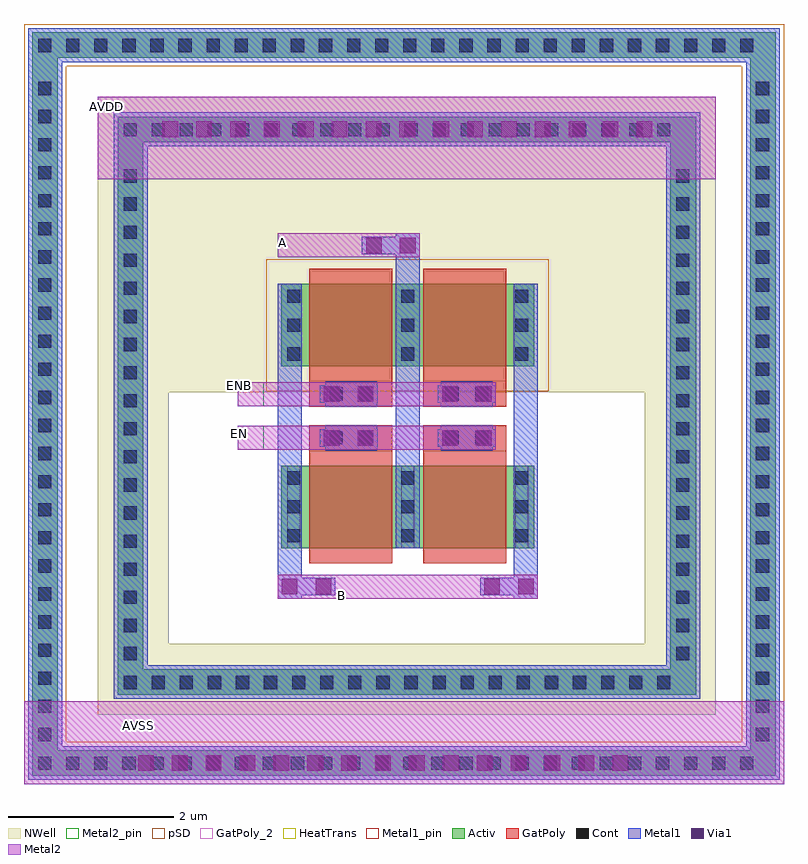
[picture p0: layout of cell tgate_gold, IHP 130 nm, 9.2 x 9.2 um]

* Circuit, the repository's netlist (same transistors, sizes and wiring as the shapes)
** sch_path: /home/designer/shared/BASIC/current_generator/analog/DAC/schematics/tgate_gold.sch
.subckt tgate_gold AVDD AVSS EN ENB A B
*.PININFO AVDD:B AVSS:B EN:B ENB:B A:B B:B
MM1 A EN B AVSS sg13_lv_nmos w=1u l=1u ng=1 m=2
MM2 B ENB A AVDD sg13_lv_pmos w=1u l=1u ng=1 m=2
.ends

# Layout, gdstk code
import gdstk
lib = gdstk.Library(unit=1e-6, precision=1e-09)
def R(c, l, rs):  # rectangles x0, y0, x1, y1
    for r in rs: c.add(gdstk.rectangle(r[:2], r[2:], *l))
def A(c, l, x, y, w, h, nx, ny, dx, dy):  # array of equal rectangles
    R(c, l, [(x+i*dx, y+j*dy, x+i*dx+w, y+j*dy+h) for i in range(nx) for j in range(ny)])
def P(c, l, *ps):  # polygons
    for p in ps: c.add(gdstk.Polygon(p, *l))
Activ = (1, 0)
GatPoly = (5, 0)
GatPoly_2 = (5, 2)
Cont = (6, 0)
Metal1 = (8, 0)
Metal1_pin = (8, 2)
Metal2 = (10, 0)
Metal2_pin = (10, 2)
pSD = (14, 0)
Via1 = (19, 0)
NWell = (31, 0)
HeatTrans = (51, 0)

via_stack = lib.new_cell('via_stack')
R(via_stack, Metal1, [(-3.015,-0.105,3.015,0.105)])
R(via_stack, Metal2, [(-3.015,-0.1,3.015,0.1)])
A(via_stack, Via1, -2.965, -0.095, 0.19, 0.19, 15, 1, 0.41, 0)

via_stack_3 = lib.new_cell('via_stack$3')
R(via_stack_3, Metal1, [(-0.35,-0.105,0.35,0.105)])
R(via_stack_3, Metal2, [(-0.35,-0.1,0.35,0.1)])
R(via_stack_3, Via1, [(-0.3,-0.095,-0.11,0.095), (0.11,-0.095,0.3,0.095)])

pmos = lib.new_cell('pmos')
R(pmos, Activ, [(0,0,0.3,0.3), (0,0,1.68,1), (1.38,0,1.68,0.3)])
R(pmos, GatPoly, [(0.34,-0.18,1.34,1.18), (0.34,-0.18,1.34,1.18)])
A(pmos, Cont, 0.07, 0.07, 0.16, 0.16, 1, 3, 0, 0.35)
A(pmos, Cont, 1.45, 0.07, 0.16, 0.16, 1, 3, 0, 0.35)
R(pmos, Metal1, [(0.07,0,0.23,1), (0.07,0,0.23,1), (1.45,0,1.61,1), (1.45,0,1.61,1)])
R(pmos, pSD, [(-0.18,-0.3,1.86,1.3)])
R(pmos, NWell, [(-0.31,-0.31,1.99,1.31)])
R(pmos, HeatTrans, [(0.34,-0.18,1.34,1.18)])
pmos.add(gdstk.Label('pmos', (0.84,0.5), layer=63, texttype=0))
pmos.add(gdstk.Label('pmos', (0.84,0.5), layer=51, texttype=0))

nmos = lib.new_cell('nmos')
R(nmos, Activ, [(0,0,0.3,0.3), (0,0,1.68,1), (1.38,0,1.68,0.3)])
R(nmos, GatPoly, [(0.34,-0.18,1.34,1.18)])
R(nmos, GatPoly_2, [(0.34,-0.18,1.34,1.18)])
A(nmos, Cont, 0.07, 0.07, 0.16, 0.16, 1, 3, 0, 0.35)
A(nmos, Cont, 1.45, 0.07, 0.16, 0.16, 1, 3, 0, 0.35)
R(nmos, Metal1, [(0.07,0,0.23,1), (1.45,0,1.61,1)])
R(nmos, Metal1_pin, [(0.07,0,0.23,1), (1.45,0,1.61,1)])
R(nmos, HeatTrans, [(0.34,-0.18,1.34,1.18)])
nmos.add(gdstk.Label('nmos', (0.84,0.5), layer=63, texttype=0))
nmos.add(gdstk.Label('nmos', (0.84,0.5), layer=51, texttype=0))

tgate_gold = lib.new_cell('tgate_gold')
P(tgate_gold, Activ, [(-7.265,-36.38),(-7.265,-27.69),(-6.955,-27.69),(-6.955,-36.07),(1.425,-36.07),(1.425,-27.69),(-7.265,-27.69),(-7.265,-27.38),(1.735,-27.38),(1.735,-36.38)],
  [(-6.23,-35.4),(-6.23,-28.71),(-5.92,-28.71),(-5.92,-35.09),(0.46,-35.09),(0.46,-28.71),(-6.23,-28.71),(-6.23,-28.4),(0.77,-28.4),(0.77,-35.4)])
R(tgate_gold, GatPoly, [(-3.91,-32.445,-2.91,-32.135), (-2.53,-32.445,-1.53,-32.135), (-3.91,-31.915,-2.91,-31.605), (-2.53,-31.915,-1.53,-31.605)])
A(tgate_gold, Cont, -7.195, -36.31, 0.16, 0.16, 26, 2, 0.34, 8.69)
A(tgate_gold, Cont, -7.195, -35.96, 0.16, 0.16, 1, 24, 0, 0.34)
A(tgate_gold, Cont, 1.495, -35.96, 0.16, 0.16, 1, 24, 0, 0.34)
A(tgate_gold, Cont, -6.16, -35.33, 0.16, 0.16, 20, 2, 0.34, 6.69)
A(tgate_gold, Cont, -6.16, -34.98, 0.16, 0.16, 1, 18, 0, 0.34)
A(tgate_gold, Cont, 0.53, -34.98, 0.16, 0.16, 1, 18, 0, 0.34)
R(tgate_gold, Cont, [(-3.665,-32.37,-3.505,-32.21), (-3.665,-32.37,-3.505,-32.21), (-3.305,-32.37,-3.145,-32.21), (-3.305,-32.37,-3.145,-32.21), (-2.265,-32.37,-2.105,-32.21), (-2.265,-32.37,-2.105,-32.21), (-1.905,-32.37,-1.745,-32.21), (-1.905,-32.37,-1.745,-32.21), (-3.665,-31.84,-3.505,-31.68), (-3.665,-31.84,-3.505,-31.68), (-3.305,-31.84,-3.145,-31.68), (-3.305,-31.84,-3.145,-31.68), (-2.265,-31.84,-2.105,-31.68), (-2.265,-31.84,-2.105,-31.68), (-1.905,-31.84,-1.745,-31.68), (-1.905,-31.84,-1.745,-31.68)])
R(tgate_gold, Metal1, [(-3.72,-32.445,-3.09,-32.135), (-2.32,-32.445,-1.69,-32.135), (-3.72,-31.915,-3.09,-31.605), (-2.32,-31.915,-1.69,-31.605)])
P(tgate_gold, Metal1, [(-7.315,-36.43),(-7.315,-27.74),(-6.905,-27.74),(-6.905,-36.02),(1.375,-36.02),(1.375,-27.74),(-7.315,-27.74),(-7.315,-27.33),(1.785,-27.33),(1.785,-36.43)],
  [(-6.28,-35.45),(-6.28,-28.76),(-5.87,-28.76),(-5.87,-35.04),(0.41,-35.04),(0.41,-28.76),(-6.28,-28.76),(-6.28,-28.35),(0.82,-28.35),(0.82,-35.45)])
R(tgate_gold, Metal2_pin, [(-7.365,-36.48,1.835,-35.48), (-4.295,-34.235,-1.145,-33.945), (-3.725,-34.235,-3.355,-33.945), (-4.78,-32.435,-4.46,-32.145), (-4.78,-31.905,-4.46,-31.615), (-4.295,-30.105,-2.575,-29.815), (-4.26,-30.105,-3.875,-29.815), (-6.47,-29.16,1.01,-28.16)])
P(tgate_gold, pSD, [(-7.365,-36.48),(-7.365,-27.79),(-6.855,-27.79),(-6.855,-35.97),(1.325,-35.97),(1.325,-27.79),(-7.365,-27.79),(-7.365,-27.28),(1.835,-27.28),(1.835,-36.48)])
R(tgate_gold, NWell, [(-6.47,-35.64,-5.61,-28.16), (-6.47,-35.64,1.01,-34.78), (0.15,-35.64,1.01,-28.16), (-6.47,-31.735,1.01,-28.16)])
P(tgate_gold, NWell, [(-6.47,-35.64),(-6.47,-28.95),(-5.68,-28.95),(-5.68,-34.85),(0.22,-34.85),(0.22,-28.95),(-6.47,-28.95),(-6.47,-28.16),(1.01,-28.16),(1.01,-35.64)])
tgate_gold.add(gdstk.FlexPath([(-4.15,-30.425),(-4.15,-34.235)], 0.29, ends="flush", simple_path=True, layer=8, datatype=0))  # Metal1
tgate_gold.add(gdstk.FlexPath([(-2.72,-29.815),(-2.72,-33.625)], 0.29, ends="flush", simple_path=True, layer=8, datatype=0))  # Metal1
tgate_gold.add(gdstk.FlexPath([(-1.29,-30.425),(-1.29,-34.235)], 0.29, ends="flush", simple_path=True, layer=8, datatype=0))  # Metal1
tgate_gold.add(gdstk.FlexPath([(-1.145,-34.09),(-4.295,-34.09)], 0.29, ends="flush", simple_path=True, layer=10, datatype=0))  # Metal2
tgate_gold.add(gdstk.FlexPath([(-1.655,-31.76),(-4.78,-31.76)], 0.29, ends="flush", simple_path=True, layer=10, datatype=0))  # Metal2
tgate_gold.add(gdstk.FlexPath([(-2.575,-29.96),(-4.295,-29.96)], 0.29, ends="flush", simple_path=True, layer=10, datatype=0))  # Metal2
tgate_gold.add(gdstk.FlexPath([(-1.655,-32.29),(-4.78,-32.29)], 0.29, ends="flush", simple_path=True, layer=10, datatype=0))  # Metal2
tgate_gold.add(gdstk.FlexPath([(-6.47,-28.66),(1.01,-28.66)], 1, ends="flush", simple_path=True, layer=10, datatype=0))  # Metal2
tgate_gold.add(gdstk.FlexPath([(-7.365,-35.98),(1.835,-35.98)], 1, ends="flush", simple_path=True, layer=10, datatype=0))  # Metal2
tgate_gold.add(gdstk.Reference(via_stack, (-2.725,-28.555)))
tgate_gold.add(gdstk.Reference(via_stack_3, (-2.925,-29.96)))
tgate_gold.add(gdstk.Reference(via_stack_3, (-3.435,-32.29)))
tgate_gold.add(gdstk.Reference(via_stack_3, (-3.435,-31.76)))
tgate_gold.add(gdstk.Reference(via_stack_3, (-2.005,-32.29)))
tgate_gold.add(gdstk.Reference(via_stack_3, (-2.005,-31.76)))
tgate_gold.add(gdstk.Reference(pmos, (-2.87,-31.425)))
tgate_gold.add(gdstk.Reference(nmos, (-4.25,-33.625)))
tgate_gold.add(gdstk.Reference(via_stack_3, (-3.945,-34.09)))
tgate_gold.add(gdstk.Reference(nmos, (-2.87,-33.625)))
tgate_gold.add(gdstk.Reference(pmos, (-4.25,-31.425)))
tgate_gold.add(gdstk.Reference(via_stack_3, (-1.495,-34.09)))
tgate_gold.add(gdstk.Reference(via_stack, (-3.02,-36.225)))
tgate_gold.add(gdstk.Label('AVDD', (-6.365,-28.275), layer=10, texttype=25))
tgate_gold.add(gdstk.Label('EN', (-4.76,-32.235), layer=10, texttype=25))
tgate_gold.add(gdstk.Label('ENB', (-4.755,-31.655), layer=10, texttype=25))
tgate_gold.add(gdstk.Label('A', (-4.23,-29.92), layer=10, texttype=25))
tgate_gold.add(gdstk.Label('AVSS', (-5.975,-35.77), layer=10, texttype=25))
tgate_gold.add(gdstk.Label('B', (-3.525,-34.195), layer=10, texttype=25))

lib.write_gds('tgate_gold.gds')
